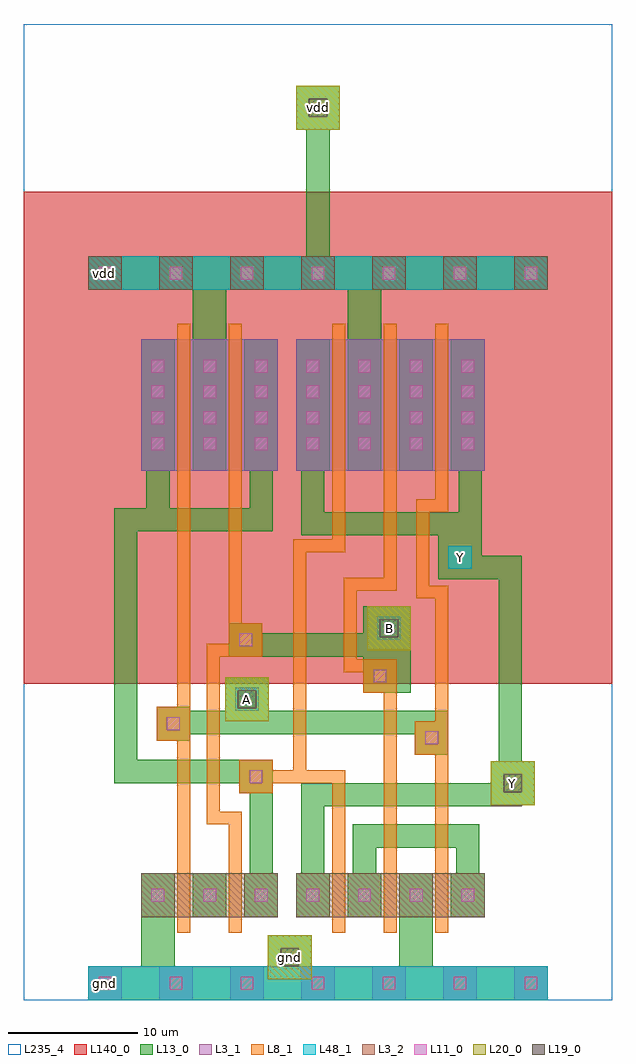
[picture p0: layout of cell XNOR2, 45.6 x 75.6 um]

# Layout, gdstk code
import gdstk
lib = gdstk.Library(unit=1e-6, precision=1e-09)
def R(c, l, rs):  # rectangles x0, y0, x1, y1
    for r in rs: c.add(gdstk.rectangle(r[:2], r[2:], *l))
def A(c, l, x, y, w, h, nx, ny, dx, dy):  # array of equal rectangles
    R(c, l, [(x+i*dx, y+j*dy, x+i*dx+w, y+j*dy+h) for i in range(nx) for j in range(ny)])
def P(c, l, *ps):  # polygons
    for p in ps: c.add(gdstk.Polygon(p, *l))
L3_1 = (3, 1)
L3_2 = (3, 2)
L8_1 = (8, 1)
L11_0 = (11, 0)
L13_0 = (13, 0)
L19_0 = (19, 0)
L20_0 = (20, 0)
L48_1 = (48, 1)
L140_0 = (140, 0)
L235_4 = (235, 4)

xnor2 = lib.new_cell('XNOR2')
A(xnor2, L3_1, 5, 0, 2.6, 2.6, 7, 1, 5.5, 0)
R(xnor2, L3_1, [(9.1,41,19.7,51.2), (21.1,41,35.7,51.2)])
A(xnor2, L3_2, 5, 55, 2.6, 2.6, 7, 1, 5.5, 0)
R(xnor2, L3_2, [(9.1,6.4,19.7,9.8), (21.1,6.4,35.7,9.8)])
P(xnor2, L8_1, [(11.9,5.2),(11.9,20.1),(10.3,20.1),(10.3,22.7),(11.9,22.7),(11.9,52.4),(12.9,52.4),(12.9,5.2)],
  [(15.9,5.2),(15.9,13.6),(14.2,13.6),(14.2,27.6),(15.9,27.6),(15.9,52.4),(16.9,52.4),(16.9,29.2),(18.5,29.2),(18.5,26.6),(15.2,26.6),(15.2,14.6),(16.9,14.6),(16.9,5.2)],
  [(23.9,5.2),(23.9,16.8),(19.3,16.8),(19.3,16),(16.7,16),(16.7,18.6),(19.3,18.6),(19.3,17.8),(20.9,17.8),(20.9,35.7),(23.9,35.7),(23.9,52.4),(24.9,52.4),(24.9,34.7),(21.9,34.7),(21.9,17.8),(24.9,17.8),(24.9,5.2)],
  [(27.9,5.2),(27.9,23.8),(26.3,23.8),(26.3,25.4),(24.8,25.4),(24.8,32.7),(27.9,32.7),(27.9,52.4),(28.9,52.4),(28.9,31.7),(25.8,31.7),(25.8,26.4),(28.9,26.4),(28.9,5.2)],
  [(31.9,5.2),(31.9,19),(30.3,19),(30.3,21.6),(31.9,21.6),(31.9,31.1),(30.4,31.1),(30.4,38.8),(31.9,38.8),(31.9,52.4),(32.9,52.4),(32.9,37.8),(31.4,37.8),(31.4,32.1),(32.9,32.1),(32.9,5.2)])
A(xnor2, L11_0, 5.8, 0.8, 1, 1, 7, 2, 5.5, 55)
A(xnor2, L11_0, 13.9, 7.6, 1, 1, 4, 2, 4, 35)
A(xnor2, L11_0, 9.9, 42.6, 1, 1, 1, 4, 0, 2)
A(xnor2, L11_0, 13.9, 42.6, 1, 1, 1, 4, 0, 2)
A(xnor2, L11_0, 25.9, 42.6, 1, 1, 1, 4, 0, 2)
A(xnor2, L11_0, 33.9, 42.6, 1, 1, 1, 4, 0, 2)
A(xnor2, L11_0, 13.9, 44.6, 1, 1, 4, 3, 4, 2)
R(xnor2, L11_0, [(9.9,7.6,10.9,8.6), (13.9,7.6,14.9,8.6), (25.9,7.6,26.9,8.6), (29.9,7.6,30.9,8.6), (29.9,7.6,30.9,8.6), (33.9,7.6,34.9,8.6), (17.5,16.8,18.5,17.8), (31.1,19.8,32.1,20.8), (11.1,20.9,12.1,21.9), (27.1,24.6,28.1,25.6), (16.7,27.4,17.7,28.4), (29.9,42.6,30.9,43.6), (29.9,42.6,30.9,43.6), (29.9,44.6,30.9,45.6), (29.9,44.6,30.9,45.6), (29.9,46.6,30.9,47.6), (29.9,46.6,30.9,47.6), (29.9,48.6,30.9,49.6), (29.9,48.6,30.9,49.6)])
R(xnor2, L13_0, [(13.1,6.4,15.7,9.8), (29.1,41,31.7,51.2)])
P(xnor2, L13_0, [(5,0),(5,2.6),(9.1,2.6),(9.1,9.8),(11.7,9.8),(11.7,2.6),(18.9,2.6),(18.9,5),(22.3,5),(22.3,2.6),(29.1,2.6),(29.1,9.8),(31.7,9.8),(31.7,2.6),(40.6,2.6),(40.6,0)],
  [(25.1,6.4),(25.1,9.8),(25.5,9.8),(25.5,13.6),(35.3,13.6),(35.3,9.8),(35.7,9.8),(35.7,6.4),(33.1,6.4),(33.1,9.8),(33.5,9.8),(33.5,11.8),(27.3,11.8),(27.3,9.8),(27.7,9.8),(27.7,6.4)],
  [(30.3,19),(30.3,20.6),(12.9,20.6),(12.9,20.1),(10.3,20.1),(10.3,22.7),(12.9,22.7),(12.9,22.4),(15.6,22.4),(15.6,25),(19,25),(19,22.4),(32.9,22.4),(32.9,19)],
  [(26.3,23.8),(26.3,26.6),(15.9,26.6),(15.9,29.2),(18.5,29.2),(18.5,28.4),(26.3,28.4),(26.3,30.5),(30,30.5),(30,23.8)],
  [(17.1,6.4),(17.1,9.8),(17.5,9.8),(17.5,16),(16.7,16),(16.7,16.8),(7,16.8),(7,38.1),(9.5,38.1),(9.5,41),(9.1,41),(9.1,51.2),(11.7,51.2),(11.7,41),(11.3,41),(11.3,38.1),(17.5,38.1),(17.5,41),(17.1,41),(17.1,51.2),(19.7,51.2),(19.7,41),(19.3,41),(19.3,36.3),(8.8,36.3),(8.8,18.6),(19.3,18.6),(19.3,9.8),(19.7,9.8),(19.7,6.4)],
  [(21.1,6.4),(21.1,9.8),(21.5,9.8),(21.5,16.8),(36.2,16.8),(36.2,18.5),(36.8,18.5),(36.8,32.6),(32.1,32.6),(32.1,36),(21.5,36),(21.5,41),(21.1,41),(21.1,51.2),(23.7,51.2),(23.7,41),(23.3,41),(23.3,37.8),(33.7,37.8),(33.7,41),(33.1,41),(33.1,51.2),(35.7,51.2),(35.7,41),(35.5,41),(35.5,34.4),(38.6,34.4),(38.6,18.5),(39.6,18.5),(39.6,15.1),(38.6,15.1),(38.6,15),(23.3,15),(23.3,9.8),(23.7,9.8),(23.7,6.4)],
  [(13.1,41),(13.1,55),(5,55),(5,57.6),(21.9,57.6),(21.9,67.4),(21.1,67.4),(21.1,70.8),(24.5,70.8),(24.5,67.4),(23.7,67.4),(23.7,57.6),(40.6,57.6),(40.6,55),(27.7,55),(27.7,41),(25.1,41),(25.1,55),(15.7,55),(15.7,41)])
R(xnor2, L19_0, [(19.9,2.6,21.3,4), (37.2,16.1,38.6,17.5), (16.6,22.6,18,24), (27.6,28.1,29,29.5), (22.1,68.4,23.5,69.8)])
R(xnor2, L20_0, [(18.9,1.6,22.3,5), (36.2,15.1,39.6,18.5), (15.6,21.6,19,25), (26.6,27.1,30,30.5), (21.1,67.4,24.5,70.8)])
R(xnor2, L48_1, [(5,0,40.6,2.6), (16.4,22.4,18.2,24.2), (27.4,27.9,29.2,29.7), (32.9,33.4,34.7,35.2), (5,55,40.6,57.6)])
R(xnor2, L140_0, [(0,24.5,45.6,62.6)])
R(xnor2, L235_4, [(0,0,45.6,75.6)])
xnor2.add(gdstk.Label('Y', (33.8,34.3), layer=48, texttype=0))
xnor2.add(gdstk.Label('A', (17.3,23.3), layer=48, texttype=0))
xnor2.add(gdstk.Label('B', (28.3,28.8), layer=48, texttype=0))
xnor2.add(gdstk.Label('vdd', (6.3,56.3), layer=48, texttype=0))
xnor2.add(gdstk.Label('gnd', (6.3,1.3), layer=48, texttype=0))
xnor2.add(gdstk.Label('A', (17.3,23.3), layer=49, texttype=0))
xnor2.add(gdstk.Label('B', (28.3,28.8), layer=49, texttype=0))
xnor2.add(gdstk.Label('Y', (37.9,16.8), layer=49, texttype=0))
xnor2.add(gdstk.Label('vdd', (22.8,69.1), layer=49, texttype=0))
xnor2.add(gdstk.Label('gnd', (20.6,3.3), layer=49, texttype=0))

lib.write_gds('XNOR2.gds')
